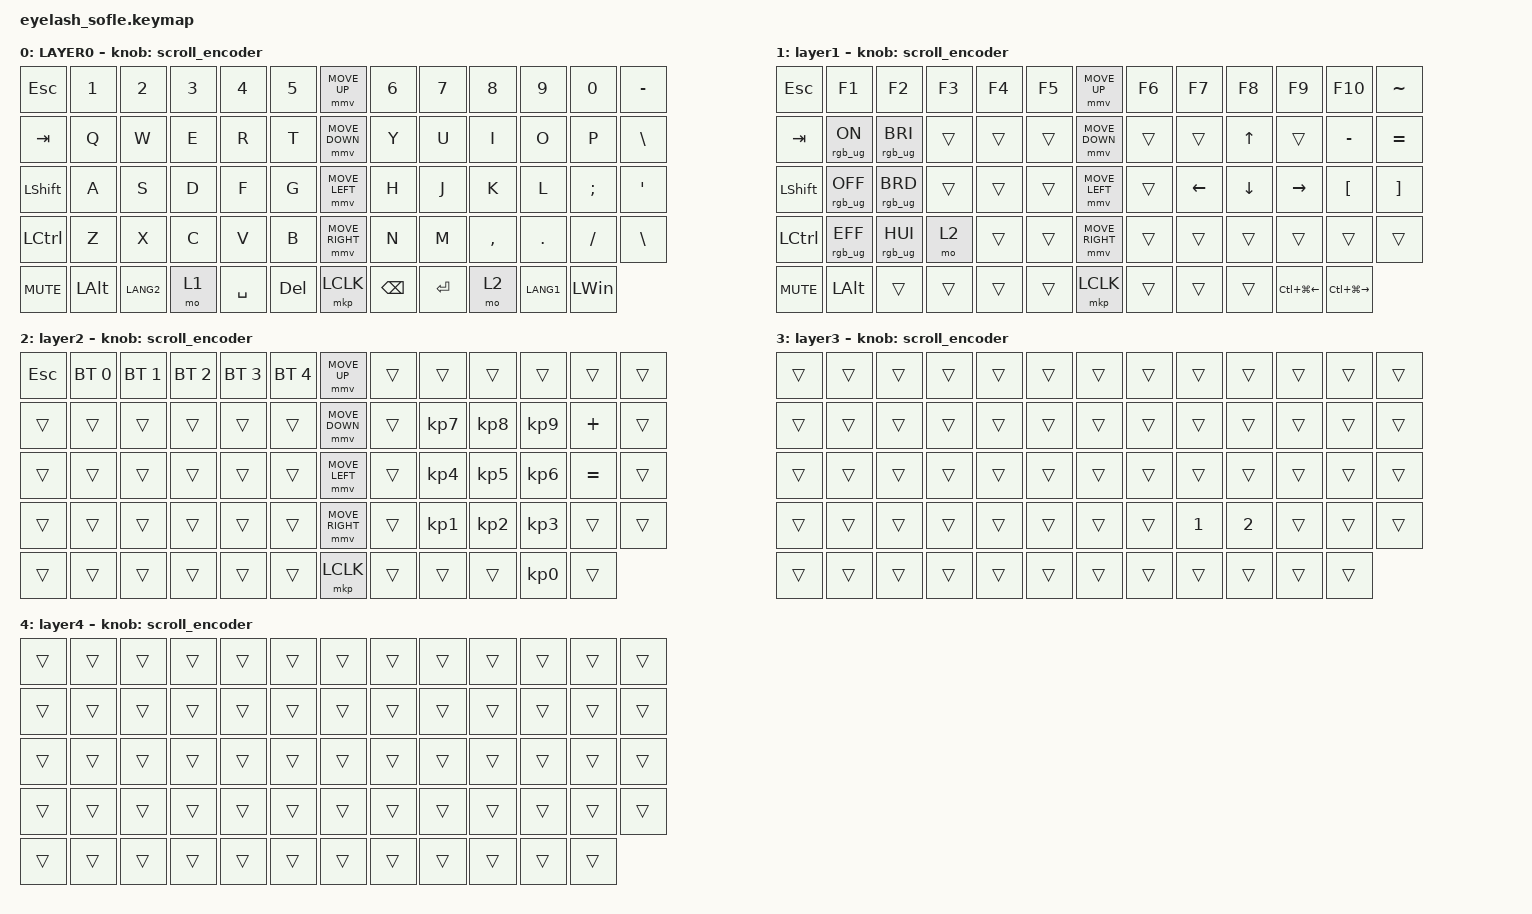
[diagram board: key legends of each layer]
#define ZMK_POINTING_DEFAULT_MOVE_VAL 1200  // 600
#define ZMK_POINTING_DEFAULT_SCRL_VAL 25   // 10

#include <input/processors.dtsi>
#include <zephyr/dt-bindings/input/input-event-codes.h>
#include <behaviors.dtsi>
#include <dt-bindings/zmk/bt.h>
#include <dt-bindings/zmk/keys.h>
#include <dt-bindings/zmk/pointing.h>
#include <dt-bindings/zmk/rgb.h>

&mmv_input_listener { input-processors = <&zip_xy_scaler 2 1>; };

&msc_input_listener { input-processors = <&zip_scroll_scaler 2 1>; };

&msc {
    acceleration-exponent = <1>;      // 0
    time-to-max-speed-ms = <100>;       // 300
    delay-ms = <0>;                   // 0
};

&mmv {
    time-to-max-speed-ms = <500>;
    acceleration-exponent = <1>;
    trigger-period-ms = <16>;
};

&soft_off { hold-time-ms = <2000>; };

/ {
    scroll_encoder: scroll_encoder {
        compatible = "zmk,behavior-sensor-rotate";
        #sensor-binding-cells = <0>;
        bindings = <&msc SCRL_DOWN>, <&msc SCRL_UP>;

        tap-ms = <100>;
    };

    behaviors {
    };

    combos {
        compatible = "zmk,combos";

        back_desktop {
            bindings = <&back_desktop>;
            key-positions = <30 29 28>;
        };

        next_desktop {
            bindings = <&next_desktop>;
            key-positions = <34 34 35 36>;
        };
    };

    macros {
        back_desktop: back_desktop {
            compatible = "zmk,behavior-macro";
            #binding-cells = <0>;
            bindings = <&kp LEFT_WIN &kp LEFT_CONTROL &kp LEFT>;
            label = "BACK_DESKTOP";
        };

        next_desktop: next_desktop {
            compatible = "zmk,behavior-macro";
            #binding-cells = <0>;
            bindings = <&kp LEFT_WIN &kp LEFT_CONTROL &kp RIGHT>;
            label = "NEXT_DESKTOP";
        };
    };

    keymap {
        compatible = "zmk,keymap";

        layer0 {
            bindings = <
&kp ESC         &kp N1        &kp N2     &kp N3  &kp N4     &kp N5     &mmv MOVE_UP     &kp N6         &kp N7     &kp N8     &kp N9     &kp N0        &kp MINUS
&kp TAB         &kp Q         &kp W      &kp E   &kp R      &kp T      &mmv MOVE_DOWN   &kp Y          &kp U      &kp I      &kp O      &kp P         &kp BSLH
&kp LEFT_SHIFT  &kp A         &kp S      &kp D   &kp F      &kp G      &mmv MOVE_LEFT   &kp H          &kp J      &kp K      &kp L      &kp SEMI      &kp APOS
&kp LCTRL       &kp Z         &kp X      &kp C   &kp V      &kp B      &mmv MOVE_RIGHT  &kp N          &kp M      &kp COMMA  &kp DOT    &kp FSLH      &kp BACKSLASH
&kp C_MUTE      &kp LEFT_ALT  &kp LANG2  &mo 1   &kp SPACE  &kp DEL    &mkp LCLK        &kp BACKSPACE  &kp ENTER  &mo 2      &kp LANG1  &kp LEFT_WIN
            >;

            sensor-bindings = <&scroll_encoder>;
            display-name = "LAYER0";
        };

        layer_1 {
            bindings = <
&kp ESC         &kp F1           &kp F2           &kp F3  &kp F4  &kp F5    &mmv MOVE_UP     &kp F6  &kp F7    &kp F8    &kp F9            &kp F10            &kp TILDE
&kp TAB         &rgb_ug RGB_ON   &rgb_ug RGB_BRI  &trans  &trans  &trans    &mmv MOVE_DOWN   &trans  &trans    &kp UP    &trans            &kp MINUS          &kp EQUAL
&kp LEFT_SHIFT  &rgb_ug RGB_OFF  &rgb_ug RGB_BRD  &trans  &trans  &trans    &mmv MOVE_LEFT   &trans  &kp LEFT  &kp DOWN  &kp RIGHT         &kp LEFT_BRACKET   &kp RIGHT_BRACKET
&kp LCTRL       &rgb_ug RGB_EFF  &rgb_ug RGB_HUI  &mo 2   &trans  &trans    &mmv MOVE_RIGHT  &trans  &trans    &trans    &trans            &trans             &trans
&kp C_MUTE      &kp LEFT_ALT     &trans           &trans  &trans  &trans    &mkp LCLK        &trans  &trans    &trans    &kp LC(LG(LEFT))  &kp LC(LG(RIGHT))
            >;

            display-name = "layer1";
            sensor-bindings = <&scroll_encoder>;
        };

        layer_2 {
            bindings = <
&kp ESCAPE  &bt BT_SEL 0  &bt BT_SEL 1  &bt BT_SEL 2  &bt BT_SEL 3  &bt BT_SEL 4    &mmv MOVE_UP     &trans  &trans           &trans           &trans           &trans     &trans
&trans      &trans        &trans        &trans        &trans        &trans          &mmv MOVE_DOWN   &trans  &kp KP_NUMBER_7  &kp KP_NUMBER_8  &kp KP_NUMBER_9  &kp PLUS   &trans
&trans      &trans        &trans        &trans        &trans        &trans          &mmv MOVE_LEFT   &trans  &kp KP_NUMBER_4  &kp KP_NUMBER_5  &kp KP_NUMBER_6  &kp EQUAL  &trans
&trans      &trans        &trans        &trans        &trans        &trans          &mmv MOVE_RIGHT  &trans  &kp KP_NUMBER_1  &kp KP_NUMBER_2  &kp KP_NUMBER_3  &trans     &trans
&trans      &trans        &trans        &trans        &trans        &trans          &mkp LCLK        &trans  &trans           &trans           &kp KP_NUMBER_0  &trans
            >;

            display-name = "layer2";
            sensor-bindings = <&scroll_encoder>;
        };

        layer_3 {
            bindings = <
&trans  &trans  &trans  &trans  &trans  &trans    &trans  &trans  &trans        &trans        &trans  &trans  &trans
&trans  &trans  &trans  &trans  &trans  &trans    &trans  &trans  &trans        &trans        &trans  &trans  &trans
&trans  &trans  &trans  &trans  &trans  &trans    &trans  &trans  &trans        &trans        &trans  &trans  &trans
&trans  &trans  &trans  &trans  &trans  &trans    &trans  &trans  &kp NUMBER_1  &kp NUMBER_2  &trans  &trans  &trans
&trans  &trans  &trans  &trans  &trans  &trans    &trans  &trans  &trans        &trans        &trans  &trans
            >;

            display-name = "layer3";
            sensor-bindings = <&scroll_encoder>;
        };

        layer_4 {
            bindings = <
&trans  &trans  &trans  &trans  &trans  &trans    &trans  &trans  &trans  &trans  &trans  &trans  &trans
&trans  &trans  &trans  &trans  &trans  &trans    &trans  &trans  &trans  &trans  &trans  &trans  &trans
&trans  &trans  &trans  &trans  &trans  &trans    &trans  &trans  &trans  &trans  &trans  &trans  &trans
&trans  &trans  &trans  &trans  &trans  &trans    &trans  &trans  &trans  &trans  &trans  &trans  &trans
&trans  &trans  &trans  &trans  &trans  &trans    &trans  &trans  &trans  &trans  &trans  &trans
            >;

            display-name = "layer4";
            sensor-bindings = <&scroll_encoder>;
        };
    };
};
